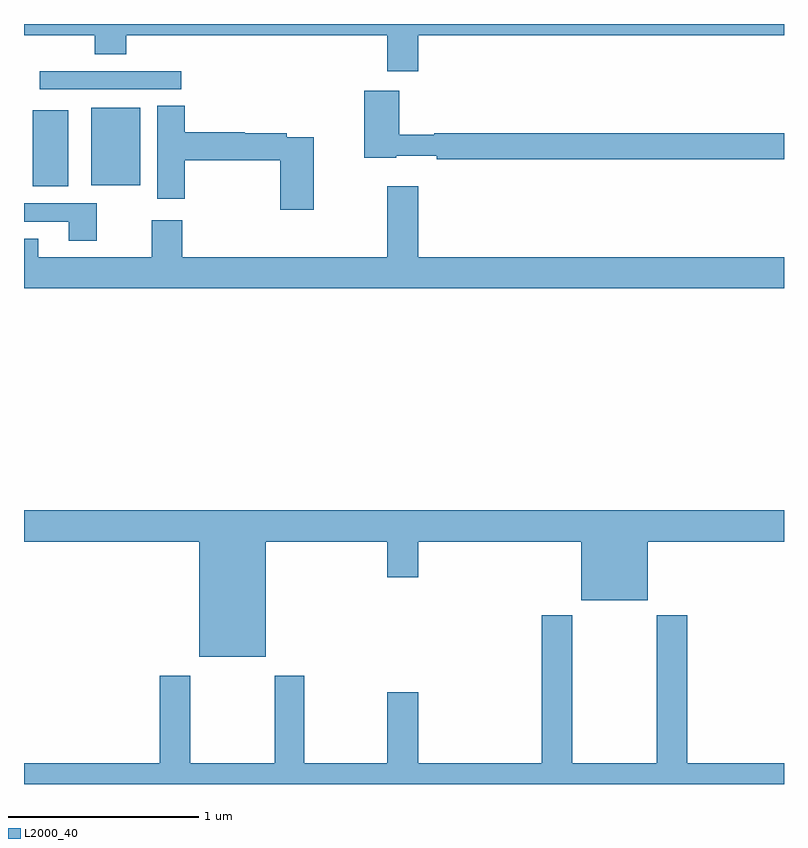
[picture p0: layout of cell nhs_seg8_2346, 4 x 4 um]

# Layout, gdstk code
import gdstk
lib = gdstk.Library(unit=1e-6, precision=1e-09)
def R(c, l, rs):  # rectangles x0, y0, x1, y1
    for r in rs: c.add(gdstk.rectangle(r[:2], r[2:], *l))
def P(c, l, *ps):  # polygons
    for p in ps: c.add(gdstk.Polygon(p, *l))
L2000_40 = (2000, 40)

nhs_seg8_2346 = lib.new_cell('nhs_seg8_2346')
R(nhs_seg8_2346, L2000_40, [(259.046,1109.045,259.234,1109.446), (259.355,1109.051,259.612,1109.458), (259.083,1109.556,259.828,1109.652)])
P(nhs_seg8_2346, L2000_40, [(263,1109.9),(259,1109.9),(259,1109.84),(259.373,1109.84),(259.373,1109.741),(259.538,1109.741),(259.538,1109.84),(260.912,1109.84),(260.912,1109.652),(261.076,1109.652),(261.076,1109.84),(263,1109.84)],
  [(263,1109.324),(261.158,1109.324),(261.158,1109.317),(260.975,1109.317),(260.975,1109.548),(260.791,1109.548),(260.791,1109.195),(260.958,1109.195),(260.958,1109.207),(261.172,1109.207),(261.172,1109.188),(263,1109.188)],
  [(260.526,1109.304),(260.384,1109.304),(260.384,1109.324),(260.163,1109.324),(260.163,1109.33),(259.847,1109.33),(259.847,1109.471),(259.7,1109.471),(259.7,1108.98),(259.847,1108.98),(259.847,1109.183),(260.348,1109.183),(260.348,1108.923),(260.526,1108.923)],
  [(263,1108.672),(261.076,1108.672),(261.076,1109.047),(260.912,1109.047),(260.912,1108.672),(259.832,1108.672),(259.832,1108.867),(259.672,1108.867),(259.672,1108.672),(259.075,1108.672),(259.075,1108.771),(259,1108.771),(259,1108.508),(263,1108.508)],
  [(259.383,1108.956),(259,1108.956),(259,1108.86),(259.235,1108.86),(259.235,1108.758),(259.383,1108.758)],
  [(260.272,1107.176),(260.912,1107.176),(260.912,1106.988),(261.076,1106.988),(261.076,1107.176),(261.932,1107.176),(261.932,1106.867),(262.282,1106.867),(262.282,1107.176),(263,1107.176),(263,1107.34),(259,1107.34),(259,1107.176),(259.922,1107.176),(259.922,1106.57),(260.272,1106.57)],
  [(263,1106.008),(262.49,1106.008),(262.49,1106.788),(262.33,1106.788),(262.33,1106.008),(261.885,1106.008),(261.885,1106.788),(261.725,1106.788),(261.725,1106.008),(261.076,1106.008),(261.076,1106.383),(260.912,1106.383),(260.912,1106.008),(260.475,1106.008),(260.475,1106.47),(260.32,1106.47),(260.32,1106.008),(259.875,1106.008),(259.875,1106.47),(259.715,1106.47),(259.715,1106.008),(259,1106.008),(259,1105.9),(263,1105.9)])

lib.write_gds('nhs_seg8_2346.gds')
